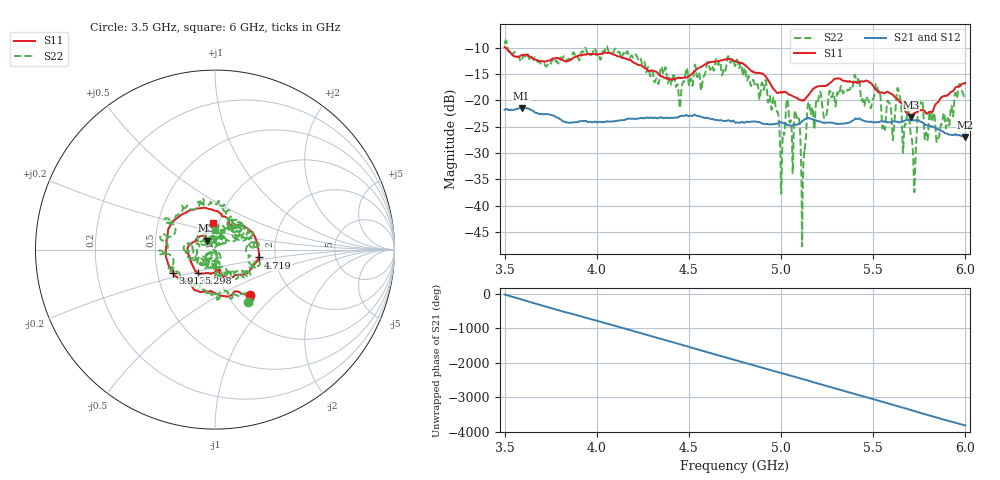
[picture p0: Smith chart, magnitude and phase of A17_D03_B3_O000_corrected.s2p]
! Created with skrf 1.9.0 (http://scikit-rf.org).
# Hz S RI R 50.0
!freq ReS11 ImS11 ReS21 ImS21 ReS12 ImS12 ReS22 ImS22
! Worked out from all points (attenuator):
!   1601 points, 3.5 GHz to 6 GHz, reference 50 ohm
!   highest |S21| = -21.44 dB at 3.592 GHz (marker M1); lowest = -27.0 dB at 6 GHz (marker M2)
!   lowest |S11| = -23.2 dB at 5.705 GHz (marker M3), VSWR 1.15, Z = 45.3 + j4.61 ohm
!   |S11| at or under -10 dB: 3.504 GHz to end of sweep
!   |S22| runs from -47.7 to -8.6 dB; largest |S21 - S12| = 0.001
!   S11 on the Smith chart (normalised r, x): 3.5 GHz: 1.27, -0.71; 3.913 GHz: 0.60, -0.17; 4.719 GHz: 1.63, -0.15; 5.298 GHz: 0.80, -0.22; 6 GHz: 0.94, +0.28
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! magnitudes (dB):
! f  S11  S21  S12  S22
! 3.5 GHz  -9.9  -21.8  -21.8  -9.3
! 3.592 GHz  -11.4  -21.4  -21.4  -12.5
! 3.913 GHz  -11.5  -24.0  -23.9  -11.3
! 3.917 GHz  -11.5  -24.0  -24.0  -10.7
! 4.334 GHz  -15.0  -23.4  -23.3  -16.9
! 4.719 GHz  -12.1  -23.8  -23.8  -12.1
! 4.75 GHz  -12.6  -24.2  -24.2  -13.5
! 4.967 GHz  -18.2  -24.5  -24.5  -20.5
! 5.005 GHz  -18.4  -24.2  -24.2  -30.9
! 5.031 GHz  -18.6  -24.6  -24.6  -19.9
! 5.086 GHz  -19.6  -24.6  -24.6  -23.4
! 5.119 GHz  -20.0  -23.9  -23.8  -34.9
! 5.145 GHz  -19.1  -23.4  -23.3  -20.8
! 5.167 GHz  -18.1  -23.6  -23.5  -21.5
! 5.298 GHz  -15.9  -24.4  -24.4  -20.5
! 5.584 GHz  -18.5  -24.2  -24.1  -20.3
! 5.638 GHz  -20.0  -24.2  -24.1  -18.2
! 5.705 GHz  -23.2  -23.8  -23.8  -26.8
! 5.722 GHz  -22.4  -23.8  -23.7  -36.8
! 5.756 GHz  -21.9  -24.0  -24.0  -20.6
! 5.852 GHz  -20.4  -25.5  -25.5  -27.2
! 6 GHz  -16.7  -27.0  -26.9  -19.3
